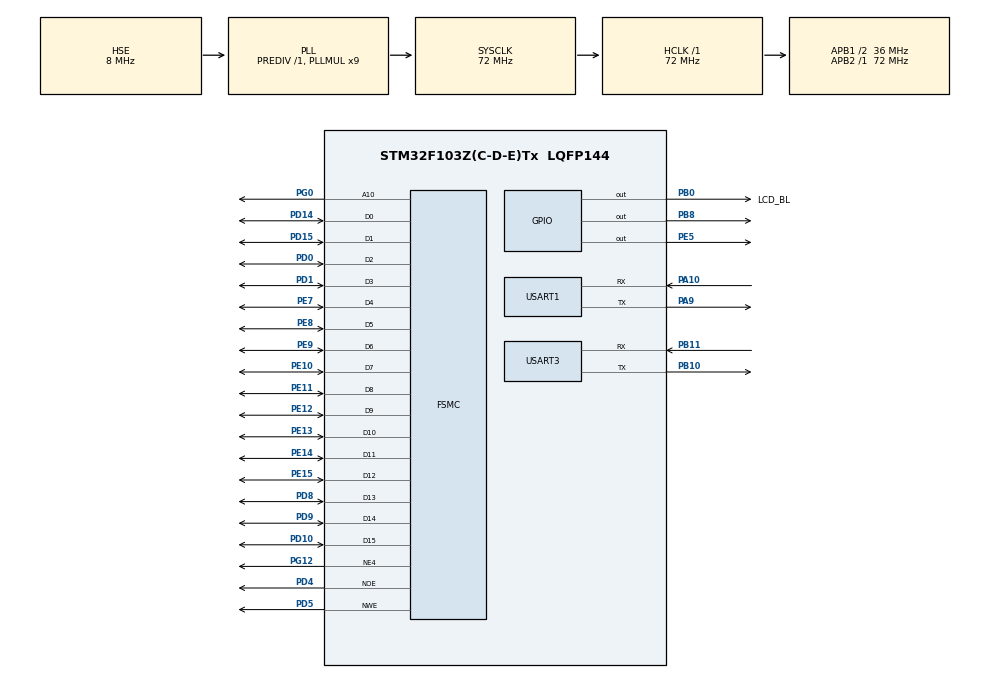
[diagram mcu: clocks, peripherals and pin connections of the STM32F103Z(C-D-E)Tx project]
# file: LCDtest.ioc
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FSMC.AddressSetupTime1=0
FSMC.BusTurnAroundDuration1=0
FSMC.DataSetupTime1=15
FSMC.ExtendedAddressSetupTime1=0
FSMC.ExtendedBusTurnAroundDuration1=0
FSMC.ExtendedDataSetupTime1=1
FSMC.ExtendedMode1=FSMC_EXTENDED_MODE_ENABLE
Mcu.Family=STM32F1
Mcu.Name=STM32F103Z(C-D-E)Tx
Mcu.Package=LQFP144
NVIC.PriorityGroup=NVIC_PRIORITYGROUP_4
NVIC.TIM6_IRQn=true\:0\:0\:false\:false\:true\:true\:true\:true
NVIC.USART1_IRQn=true\:0\:0\:false\:false\:true\:true\:true\:true
NVIC.USART3_IRQn=true\:0\:0\:false\:false\:true\:true\:true\:true
OSC_IN.Mode=HSE-External-Oscillator
OSC_IN.Signal=RCC_OSC_IN
OSC_OUT.Mode=HSE-External-Oscillator
OSC_OUT.Signal=RCC_OSC_OUT
PA10.Mode=Asynchronous
PA10.Signal=USART1_RX
PA13.Mode=Serial_Wire
PA13.Signal=SYS_JTMS-SWDIO
PA14.Mode=Serial_Wire
PA14.Signal=SYS_JTCK-SWCLK
PA9.Mode=Asynchronous
PA9.Signal=USART1_TX
PB0.GPIO_Label=LCD_BL
PB0.GPIO_PuPd=GPIO_PULLUP
PB0.GPIO_Speed=GPIO_SPEED_FREQ_LOW
PB0.Signal=GPIO_Output
PB10.Mode=Asynchronous
PB10.Signal=USART3_TX
PB11.Mode=Asynchronous
PB11.Signal=USART3_RX
PB8.GPIO_PuPd=GPIO_PULLUP
PB8.GPIO_Speed=GPIO_SPEED_FREQ_HIGH
PB8.Signal=GPIO_Output
PD0.Signal=FSMC_D2_DA2
PD1.Signal=FSMC_D3_DA3
PD10.Signal=FSMC_D15_DA15
PD14.Signal=FSMC_D0_DA0
PD15.Signal=FSMC_D1_DA1
PD4.Signal=FSMC_NOE
PD5.Signal=FSMC_NWE
PD8.Signal=FSMC_D13_DA13
PD9.Signal=FSMC_D14_DA14
PE10.Signal=FSMC_D7_DA7
PE11.Signal=FSMC_D8_DA8
PE12.Signal=FSMC_D9_DA9
PE13.Signal=FSMC_D10_DA10
PE14.Signal=FSMC_D11_DA11
PE15.Signal=FSMC_D12_DA12
PE5.PinState=GPIO_PIN_SET
PE5.Signal=GPIO_Output
PE7.Signal=FSMC_D4_DA4
PE8.Signal=FSMC_D5_DA5
PE9.Signal=FSMC_D6_DA6
PG0.Signal=FSMC_A10
PG12.Mode=NorPsramChipSelect4_1
PG12.Signal=FSMC_NE4
ProjectManager.HeapSize=0x200
ProjectManager.StackSize=0x1000
ProjectManager.TargetToolchain=MDK-ARM V5.32
RCC.AHBFreq_Value=72000000
RCC.APB1CLKDivider=RCC_HCLK_DIV2
RCC.APB1Freq_Value=36000000
RCC.APB1TimFreq_Value=72000000
RCC.APB2Freq_Value=72000000
RCC.APB2TimFreq_Value=72000000
RCC.HCLKFreq_Value=72000000
RCC.PLLMUL=RCC_PLL_MUL9
RCC.PLLSourceVirtual=RCC_PLLSOURCE_HSE
RCC.SYSCLKFreq_VALUE=72000000
RCC.SYSCLKSource=RCC_SYSCLKSOURCE_PLLCLK
RCC.USBFreq_Value=72000000
SH.FSMC_A10.0=FSMC_A10,A10_1
SH.FSMC_D0_DA0.0=FSMC_D0,16b-d1
SH.FSMC_D10_DA10.0=FSMC_D10,16b-d1
SH.FSMC_D11_DA11.0=FSMC_D11,16b-d1
SH.FSMC_D12_DA12.0=FSMC_D12,16b-d1
SH.FSMC_D13_DA13.0=FSMC_D13,16b-d1
SH.FSMC_D14_DA14.0=FSMC_D14,16b-d1
SH.FSMC_D15_DA15.0=FSMC_D15,16b-d1
SH.FSMC_D1_DA1.0=FSMC_D1,16b-d1
SH.FSMC_D2_DA2.0=FSMC_D2,16b-d1
SH.FSMC_D3_DA3.0=FSMC_D3,16b-d1
SH.FSMC_D4_DA4.0=FSMC_D4,16b-d1
SH.FSMC_D5_DA5.0=FSMC_D5,16b-d1
SH.FSMC_D6_DA6.0=FSMC_D6,16b-d1
SH.FSMC_D7_DA7.0=FSMC_D7,16b-d1
SH.FSMC_D8_DA8.0=FSMC_D8,16b-d1
SH.FSMC_D9_DA9.0=FSMC_D9,16b-d1
SH.FSMC_NOE.0=FSMC_NOE,Lcd1
SH.FSMC_NWE.0=FSMC_NWE,Lcd1
TIM6.AutoReloadPreload=TIM_AUTORELOAD_PRELOAD_ENABLE
TIM6.Period=1000-1
TIM6.Prescaler=72-1
USART1.VirtualMode=VM_ASYNC
USART3.VirtualMode=VM_ASYNC
VP_TIM6_VS_ClockSourceINT.Mode=Enable_Timer
board=custom

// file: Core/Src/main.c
/* USER CODE BEGIN Header */
/**
  ******************************************************************************
  * @file           : main.c
  * @brief          : Main program body
  ******************************************************************************
  * @attention
  *
  * Copyright (c) 2025 STMicroelectronics.
  * All rights reserved.
  *
  * This software is licensed under terms that can be found in the LICENSE file
  * in the root directory of this software component.
  * If no LICENSE file comes with this software, it is provided AS-IS.
  *
  ******************************************************************************
  */
/* USER CODE END Header */
#include "main.h"
#include "tim.h"
#include "usart.h"
#include "gpio.h"
#include "fsmc.h"

/* USER CODE BEGIN Includes */
#include "lcd.h"
#include "./TOUCH/touch.h"
#include "./porting/lv_port_disp.h"
#include "./porting/lv_port_indev.h"
#include "lvgl.h"
#include "stdio.h"
#include "gui_guider.h"
#include "events_init.h"
lv_ui  guider_ui;
/* USER CODE END Includes */

/* USER CODE BEGIN PTD */
int led_flag=0;
/* USER CODE END PTD */

void SystemClock_Config(void);

/* USER CODE BEGIN 0 */
void my_delay_us(uint32_t nus)
{
    uint32_t Delay = nus * 72/4;
    do
    {
        __NOP();
    }
    while (Delay --);
}

/* USER CODE END 0 */

int main(void)
{

  /* MCU Configuration--------------------------------------------------------*/

  /* Reset of all peripherals, Initializes the Flash interface and the Systick. */
  HAL_Init();

  /* Configure the system clock */
  SystemClock_Config();

  /* Initialize all configured peripherals */
  MX_GPIO_Init();
  MX_FSMC_Init();
  MX_TIM6_Init();
  MX_USART1_UART_Init();
  MX_USART3_UART_Init();
  /* USER CODE BEGIN 2 */
	HAL_TIM_Base_Start_IT(&htim6);
	esp_ap_init();
	lv_init();
	lv_port_disp_init();
	lv_port_indev_init();
	setup_ui(&guider_ui);
	events_init(&guider_ui);
  /* USER CODE END 2 */

  /* Infinite loop */
  while (1)
  {

    /* USER CODE BEGIN 3 */
		lv_task_handler();
		if(HAL_GPIO_ReadPin(GPIOE,GPIO_PIN_5) == GPIO_PIN_RESET)
			led_flag++;
		if(led_flag>=2500)
		{
			led_flag=0;
			HAL_GPIO_WritePin(GPIOE,GPIO_PIN_5,GPIO_PIN_SET);
		}
  }
  /* USER CODE END 3 */
}

void SystemClock_Config(void)
{
  RCC_OscInitTypeDef RCC_OscInitStruct = {0};
  RCC_ClkInitTypeDef RCC_ClkInitStruct = {0};

  /** Initializes the RCC Oscillators according to the specified parameters
  * in the RCC_OscInitTypeDef structure.
  */
  RCC_OscInitStruct.OscillatorType = RCC_OSCILLATORTYPE_HSE;
  RCC_OscInitStruct.HSEState = RCC_HSE_ON;
  RCC_OscInitStruct.HSEPredivValue = RCC_HSE_PREDIV_DIV1;
  RCC_OscInitStruct.HSIState = RCC_HSI_ON;
  RCC_OscInitStruct.PLL.PLLState = RCC_PLL_ON;
  RCC_OscInitStruct.PLL.PLLSource = RCC_PLLSOURCE_HSE;
  RCC_OscInitStruct.PLL.PLLMUL = RCC_PLL_MUL9;
  if (HAL_RCC_OscConfig(&RCC_OscInitStruct) != HAL_OK)
  {
    Error_Handler();
  }

  /** Initializes the CPU, AHB and APB buses clocks
  */
  RCC_ClkInitStruct.ClockType = RCC_CLOCKTYPE_HCLK|RCC_CLOCKTYPE_SYSCLK
                              |RCC_CLOCKTYPE_PCLK1|RCC_CLOCKTYPE_PCLK2;
  RCC_ClkInitStruct.SYSCLKSource = RCC_SYSCLKSOURCE_PLLCLK;
  RCC_ClkInitStruct.AHBCLKDivider = RCC_SYSCLK_DIV1;
  RCC_ClkInitStruct.APB1CLKDivider = RCC_HCLK_DIV2;
  RCC_ClkInitStruct.APB2CLKDivider = RCC_HCLK_DIV1;

  if (HAL_RCC_ClockConfig(&RCC_ClkInitStruct, FLASH_LATENCY_2) != HAL_OK)
  {
    Error_Handler();
  }
}

/* USER CODE BEGIN 4 */
void HAL_TIM_PeriodElapsedCallback(TIM_HandleTypeDef *htim)
{
    static uint32_t time = 0;
		if(htim->Instance == TIM6)
		{
					lv_tick_inc(1);
		}
}
/* USER CODE END 4 */

void Error_Handler(void)
{
  __disable_irq();
  while (1)
  {
  }
}
